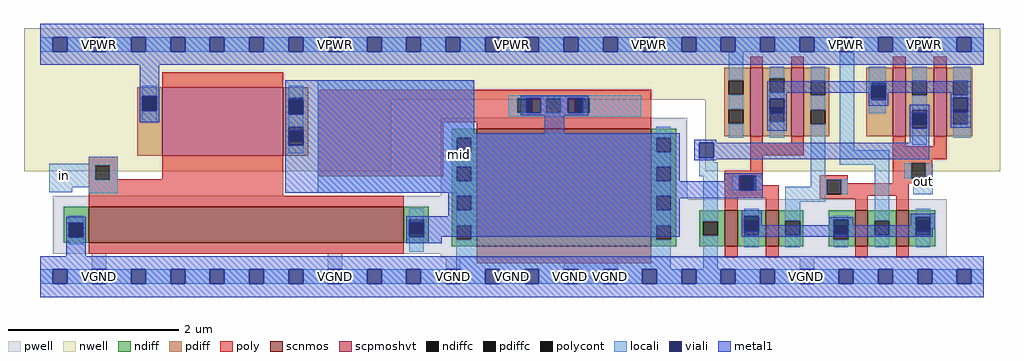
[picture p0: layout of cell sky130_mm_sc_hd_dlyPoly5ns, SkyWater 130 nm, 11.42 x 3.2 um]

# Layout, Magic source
magic
tech sky130A
magscale 1 2
<< nwell >>
rect -38 414 2246 582
rect -38 247 822 414
rect 1556 247 2246 414
<< pwell >>
rect 937 190 1514 372
rect 29 181 1514 190
rect 29 54 2121 181
rect 121 -17 155 54
rect 673 -17 707 54
rect 937 45 2121 54
rect 949 -17 983 45
rect 1225 -17 1351 45
rect 1777 -17 1811 45
<< scnmos >>
rect 113 80 851 164
rect 1021 71 1430 346
rect 1602 71 1632 155
rect 1698 71 1728 155
rect 1907 71 1937 155
rect 2003 71 2033 155
<< scpmoshvt >>
rect 285 283 569 443
rect 1661 329 1691 489
rect 1757 329 1787 489
rect 1995 329 2025 489
rect 2091 329 2121 489
<< ndiff >>
rect 963 325 1021 346
rect 963 291 975 325
rect 1009 291 1021 325
rect 963 257 1021 291
rect 963 223 975 257
rect 1009 223 1021 257
rect 963 189 1021 223
rect 55 126 113 164
rect 55 92 67 126
rect 101 92 113 126
rect 55 80 113 92
rect 851 135 909 164
rect 851 101 863 135
rect 897 101 909 135
rect 851 80 909 101
rect 963 155 975 189
rect 1009 155 1021 189
rect 963 121 1021 155
rect 963 87 975 121
rect 1009 87 1021 121
rect 963 71 1021 87
rect 1430 325 1488 346
rect 1430 291 1442 325
rect 1476 291 1488 325
rect 1430 257 1488 291
rect 1430 223 1442 257
rect 1476 223 1488 257
rect 1430 189 1488 223
rect 1430 155 1442 189
rect 1476 155 1488 189
rect 1430 121 1488 155
rect 1430 87 1442 121
rect 1476 87 1488 121
rect 1430 71 1488 87
rect 1542 130 1602 155
rect 1542 96 1552 130
rect 1586 96 1602 130
rect 1542 71 1602 96
rect 1632 131 1698 155
rect 1632 97 1648 131
rect 1682 97 1698 131
rect 1632 71 1698 97
rect 1728 131 1786 155
rect 1728 97 1744 131
rect 1778 97 1786 131
rect 1728 71 1786 97
rect 1845 121 1907 155
rect 1845 87 1857 121
rect 1891 87 1907 121
rect 1845 71 1907 87
rect 1937 131 2003 155
rect 1937 97 1953 131
rect 1987 97 2003 131
rect 1937 71 2003 97
rect 2033 131 2095 155
rect 2033 97 2049 131
rect 2083 97 2095 131
rect 2033 71 2095 97
<< pdiff >>
rect 1601 460 1661 489
rect 227 422 285 443
rect 227 388 239 422
rect 273 388 285 422
rect 227 283 285 388
rect 569 419 627 443
rect 569 385 581 419
rect 615 385 627 419
rect 569 351 627 385
rect 569 317 581 351
rect 615 317 627 351
rect 569 283 627 317
rect 1601 426 1611 460
rect 1645 426 1661 460
rect 1601 392 1661 426
rect 1601 358 1611 392
rect 1645 358 1661 392
rect 1601 329 1661 358
rect 1691 465 1757 489
rect 1691 431 1707 465
rect 1741 431 1757 465
rect 1691 397 1757 431
rect 1691 363 1707 397
rect 1741 363 1757 397
rect 1691 329 1757 363
rect 1787 459 1847 489
rect 1787 425 1803 459
rect 1837 425 1847 459
rect 1787 391 1847 425
rect 1787 357 1803 391
rect 1837 357 1847 391
rect 1787 329 1847 357
rect 1933 454 1995 489
rect 1933 420 1945 454
rect 1979 420 1995 454
rect 1933 329 1995 420
rect 2025 459 2091 489
rect 2025 425 2041 459
rect 2075 425 2091 459
rect 2025 391 2091 425
rect 2025 357 2041 391
rect 2075 357 2091 391
rect 2025 329 2091 357
rect 2121 459 2181 489
rect 2121 425 2137 459
rect 2171 425 2181 459
rect 2121 391 2181 425
rect 2121 357 2137 391
rect 2171 357 2181 391
rect 2121 329 2181 357
<< ndiffc >>
rect 975 291 1009 325
rect 975 223 1009 257
rect 67 92 101 126
rect 863 101 897 135
rect 975 155 1009 189
rect 975 87 1009 121
rect 1442 291 1476 325
rect 1442 223 1476 257
rect 1442 155 1476 189
rect 1442 87 1476 121
rect 1552 96 1586 130
rect 1648 97 1682 131
rect 1744 97 1778 131
rect 1857 87 1891 121
rect 1953 97 1987 131
rect 2049 97 2083 131
<< pdiffc >>
rect 239 388 273 422
rect 581 385 615 419
rect 581 317 615 351
rect 1611 426 1645 460
rect 1611 358 1645 392
rect 1707 431 1741 465
rect 1707 363 1741 397
rect 1803 425 1837 459
rect 1803 357 1837 391
rect 1945 420 1979 454
rect 2041 425 2075 459
rect 2041 357 2075 391
rect 2137 425 2171 459
rect 2137 357 2171 391
<< poly >>
rect 1661 489 1691 515
rect 1757 489 1787 515
rect 1995 489 2025 515
rect 2091 489 2121 515
rect 285 443 569 479
rect 650 428 1430 438
rect 649 418 1430 428
rect 649 384 1116 418
rect 1150 384 1184 418
rect 1218 384 1252 418
rect 1286 384 1430 418
rect 649 361 1430 384
rect 113 261 181 281
rect 113 227 129 261
rect 163 228 181 261
rect 285 228 569 283
rect 649 235 943 361
rect 1021 346 1430 361
rect 163 227 569 228
rect 113 190 569 227
rect 113 164 851 190
rect 113 54 851 80
rect 1661 314 1691 329
rect 1757 314 1787 329
rect 1661 284 1787 314
rect 1995 305 2025 329
rect 2091 305 2121 329
rect 1661 248 1691 284
rect 1602 236 1691 248
rect 1995 275 2121 305
rect 1995 265 2088 275
rect 1602 202 1641 236
rect 1675 214 1691 236
rect 1824 227 1890 238
rect 1675 202 1728 214
rect 1602 184 1728 202
rect 1602 155 1632 184
rect 1698 155 1728 184
rect 1824 193 1840 227
rect 1874 219 1890 227
rect 1995 231 2038 265
rect 2072 231 2088 265
rect 1995 219 2088 231
rect 1874 193 2033 219
rect 1824 189 2033 193
rect 1824 182 1937 189
rect 1907 155 1937 182
rect 2003 155 2033 189
rect 1021 32 1430 71
rect 1602 44 1632 71
rect 1698 44 1728 71
rect 1907 44 1937 71
rect 2003 44 2033 71
<< polycont >>
rect 1116 384 1150 418
rect 1184 384 1218 418
rect 1252 384 1286 418
rect 129 227 163 261
rect 1641 202 1675 236
rect 1840 193 1874 227
rect 2038 231 2072 265
<< locali >>
rect 0 527 29 561
rect 63 527 121 561
rect 155 527 213 561
rect 247 527 305 561
rect 339 527 397 561
rect 431 527 489 561
rect 523 527 581 561
rect 615 527 673 561
rect 707 527 765 561
rect 799 527 857 561
rect 891 527 949 561
rect 983 527 1041 561
rect 1075 527 1133 561
rect 1167 527 1225 561
rect 1259 527 1317 561
rect 1351 527 1409 561
rect 1443 527 1501 561
rect 1535 527 1593 561
rect 1627 527 1685 561
rect 1719 527 1777 561
rect 1811 527 1869 561
rect 1903 527 1961 561
rect 1995 527 2053 561
rect 2087 527 2145 561
rect 2179 527 2208 561
rect 1611 460 1645 527
rect 239 422 273 447
rect 238 388 239 400
rect 238 361 273 388
rect 581 419 615 447
rect 581 351 615 380
rect 581 289 615 308
rect 650 336 1016 460
rect 1095 418 1407 425
rect 1095 384 1116 418
rect 1171 384 1184 418
rect 1218 384 1235 418
rect 1286 384 1407 418
rect 1095 374 1407 384
rect 1611 392 1645 426
rect 1442 336 1476 351
rect 650 325 1476 336
rect 1611 325 1645 358
rect 1707 465 1741 491
rect 1707 416 1741 431
rect 1707 325 1741 363
rect 1803 459 1837 491
rect 1803 391 1837 425
rect 650 291 975 325
rect 1009 291 1442 325
rect 113 264 181 281
rect 21 261 181 264
rect 21 227 129 261
rect 163 227 181 261
rect 21 209 181 227
rect 21 198 75 209
rect 113 195 181 209
rect 650 257 1476 291
rect 650 223 975 257
rect 1009 223 1442 257
rect 1542 268 1576 279
rect 1542 235 1586 268
rect 650 196 1476 223
rect 973 189 1476 196
rect 67 126 101 143
rect 67 76 101 92
rect 863 135 897 160
rect 863 58 897 93
rect 973 155 975 189
rect 1009 155 1442 189
rect 973 121 1476 155
rect 973 87 975 121
rect 1009 87 1442 121
rect 973 17 1476 87
rect 1552 130 1586 235
rect 1620 202 1636 236
rect 1675 202 1691 236
rect 1803 228 1837 357
rect 1871 296 1905 527
rect 1939 454 1979 491
rect 1939 414 1945 454
rect 1939 383 1979 414
rect 2041 459 2075 491
rect 2041 391 2075 425
rect 2041 309 2075 348
rect 2137 459 2177 491
rect 2171 425 2177 459
rect 2137 419 2177 425
rect 2171 357 2177 419
rect 2137 325 2177 357
rect 1871 262 1987 296
rect 1803 227 1890 228
rect 1803 210 1840 227
rect 1744 193 1840 210
rect 1874 193 1890 227
rect 1744 176 1837 193
rect 1552 17 1586 96
rect 1648 141 1682 159
rect 1648 69 1682 97
rect 1744 131 1778 176
rect 1744 69 1778 97
rect 1857 133 1891 143
rect 1857 69 1891 87
rect 1953 131 1987 262
rect 2022 231 2038 265
rect 2072 231 2089 265
rect 2043 193 2089 231
rect 1953 69 1987 97
rect 2049 139 2083 159
rect 2049 69 2083 97
rect 0 -17 29 17
rect 63 -17 121 17
rect 155 -17 213 17
rect 247 -17 305 17
rect 339 -17 397 17
rect 431 -17 489 17
rect 523 -17 581 17
rect 615 -17 673 17
rect 707 -17 765 17
rect 799 -17 857 17
rect 891 -17 949 17
rect 983 -17 1041 17
rect 1075 -17 1133 17
rect 1167 -17 1225 17
rect 1259 -17 1317 17
rect 1351 -17 1409 17
rect 1443 -17 1501 17
rect 1535 -17 1593 17
rect 1627 -17 1685 17
rect 1719 -17 1777 17
rect 1811 -17 1869 17
rect 1903 -17 1961 17
rect 1995 -17 2053 17
rect 2087 -17 2145 17
rect 2179 -17 2208 17
<< viali >>
rect 29 527 63 561
rect 121 527 155 561
rect 213 527 247 561
rect 305 527 339 561
rect 397 527 431 561
rect 489 527 523 561
rect 581 527 615 561
rect 673 527 707 561
rect 765 527 799 561
rect 857 527 891 561
rect 949 527 983 561
rect 1041 527 1075 561
rect 1133 527 1167 561
rect 1225 527 1259 561
rect 1317 527 1351 561
rect 1409 527 1443 561
rect 1501 527 1535 561
rect 1593 527 1627 561
rect 1685 527 1719 561
rect 1777 527 1811 561
rect 1869 527 1903 561
rect 1961 527 1995 561
rect 2053 527 2087 561
rect 2145 527 2179 561
rect 239 388 273 422
rect 581 385 615 414
rect 581 380 615 385
rect 581 317 615 342
rect 581 308 615 317
rect 1137 384 1150 418
rect 1150 384 1171 418
rect 1235 384 1252 418
rect 1252 384 1269 418
rect 1707 397 1741 416
rect 1707 382 1741 397
rect 1542 279 1576 313
rect 67 92 101 126
rect 863 101 897 127
rect 863 93 897 101
rect 1636 202 1641 236
rect 1641 202 1670 236
rect 1945 420 1979 448
rect 1945 414 1979 420
rect 2041 357 2075 382
rect 2041 348 2075 357
rect 2137 391 2171 419
rect 2137 385 2171 391
rect 1648 131 1682 141
rect 1648 107 1682 131
rect 1857 121 1891 133
rect 1857 99 1891 121
rect 2049 131 2083 139
rect 2049 105 2083 131
rect 29 -17 63 17
rect 121 -17 155 17
rect 213 -17 247 17
rect 305 -17 339 17
rect 397 -17 431 17
rect 489 -17 523 17
rect 581 -17 615 17
rect 673 -17 707 17
rect 765 -17 799 17
rect 857 -17 891 17
rect 949 -17 983 17
rect 1041 -17 1075 17
rect 1133 -17 1167 17
rect 1225 -17 1259 17
rect 1317 -17 1351 17
rect 1409 -17 1443 17
rect 1501 -17 1535 17
rect 1593 -17 1627 17
rect 1685 -17 1719 17
rect 1777 -17 1811 17
rect 1869 -17 1903 17
rect 1961 -17 1995 17
rect 2053 -17 2087 17
rect 2145 -17 2179 17
<< metal1 >>
rect 0 561 2208 592
rect 0 527 29 561
rect 63 527 121 561
rect 155 527 213 561
rect 247 527 305 561
rect 339 527 397 561
rect 431 527 489 561
rect 523 527 581 561
rect 615 527 673 561
rect 707 527 765 561
rect 799 527 857 561
rect 891 527 949 561
rect 983 527 1041 561
rect 1075 527 1133 561
rect 1167 527 1225 561
rect 1259 527 1317 561
rect 1351 527 1409 561
rect 1443 527 1501 561
rect 1535 527 1593 561
rect 1627 527 1685 561
rect 1719 527 1777 561
rect 1811 527 1869 561
rect 1903 527 1961 561
rect 1995 527 2053 561
rect 2087 527 2145 561
rect 2179 527 2208 561
rect 0 496 2208 527
rect 233 422 279 496
rect 233 388 239 422
rect 273 388 279 422
rect 233 362 279 388
rect 573 414 1016 460
rect 1701 448 2177 458
rect 1701 430 1945 448
rect 573 380 581 414
rect 615 380 1016 414
rect 238 361 273 362
rect 573 342 1016 380
rect 1124 418 1282 424
rect 1124 384 1137 418
rect 1171 384 1235 418
rect 1269 384 1282 418
rect 1124 378 1282 384
rect 1701 416 1747 430
rect 1701 382 1707 416
rect 1741 382 1747 416
rect 1939 414 1945 430
rect 1979 430 2177 448
rect 1979 414 1985 430
rect 1939 400 1985 414
rect 2131 419 2177 430
rect 573 308 581 342
rect 615 336 1016 342
rect 1181 336 1226 378
rect 1701 342 1747 382
rect 2035 382 2081 402
rect 2035 348 2041 382
rect 2075 348 2081 382
rect 2131 385 2137 419
rect 2171 385 2177 419
rect 2131 349 2177 385
rect 615 308 1496 336
rect 573 223 1496 308
rect 1530 314 1582 320
rect 2035 314 2081 348
rect 1530 313 2081 314
rect 1530 279 1542 313
rect 1576 279 2081 313
rect 1530 275 2081 279
rect 1530 273 1582 275
rect 1601 236 1691 242
rect 1601 223 1636 236
rect 573 202 1636 223
rect 1670 202 1691 236
rect 573 196 1691 202
rect 955 184 1691 196
rect 955 142 1496 184
rect 61 126 107 140
rect 61 92 67 126
rect 101 92 107 126
rect 61 48 107 92
rect 856 127 1496 142
rect 856 93 863 127
rect 897 93 1496 127
rect 1642 141 1688 155
rect 1642 107 1648 141
rect 1682 121 1688 141
rect 2037 139 2095 147
rect 1845 133 1903 139
rect 1845 121 1857 133
rect 1682 107 1857 121
rect 1642 99 1857 107
rect 1891 121 1903 133
rect 2037 121 2049 139
rect 1891 105 2049 121
rect 2083 113 2095 139
rect 2083 105 2089 113
rect 1891 99 2089 105
rect 1642 93 2089 99
rect 856 78 940 93
rect 0 17 2208 48
rect 0 -17 29 17
rect 63 -17 121 17
rect 155 -17 213 17
rect 247 -17 305 17
rect 339 -17 397 17
rect 431 -17 489 17
rect 523 -17 581 17
rect 615 -17 673 17
rect 707 -17 765 17
rect 799 -17 857 17
rect 891 -17 949 17
rect 983 -17 1041 17
rect 1075 -17 1133 17
rect 1167 -17 1225 17
rect 1259 -17 1317 17
rect 1351 -17 1409 17
rect 1443 -17 1501 17
rect 1535 -17 1593 17
rect 1627 -17 1685 17
rect 1719 -17 1777 17
rect 1811 -17 1869 17
rect 1903 -17 1961 17
rect 1995 -17 2053 17
rect 2087 -17 2145 17
rect 2179 -17 2208 17
rect 0 -48 2208 -17
<< labels >>
flabel metal1 s 0 496 2208 592 0 FreeSans 200 0 0 0 VPWR
port 1 nsew
flabel metal1 s 673 527 707 561 0 FreeSans 200 0 0 0 VPWR
port 1 nsew
flabel metal1 s 121 527 155 561 0 FreeSans 200 0 0 0 VPWR
port 1 nsew
flabel metal1 s 1409 527 1443 561 0 FreeSans 200 0 0 0 VPWR
port 1 nsew
flabel metal1 s 1869 527 1903 561 0 FreeSans 200 0 0 0 VPWR
port 1 nsew
flabel metal1 s 2053 527 2087 561 0 FreeSans 200 0 0 0 VPWR
port 1 nsew
flabel metal1 s 0 -48 2208 48 0 FreeSans 200 0 0 0 VGND
port 2 nsew
flabel metal1 s 673 -17 707 17 0 FreeSans 200 0 0 0 VGND
port 2 nsew
flabel metal1 s 121 -17 155 17 0 FreeSans 200 0 0 0 VGND
port 2 nsew
flabel metal1 s 1225 -17 1259 17 0 FreeSans 200 0 0 0 VGND
port 2 nsew
flabel metal1 s 1777 -17 1811 17 0 FreeSans 200 0 0 0 VGND
port 2 nsew
flabel metal1 s 1317 -17 1351 17 0 FreeSans 200 0 0 0 VGND
port 2 nsew
flabel metal1 s 949 -17 983 17 0 FreeSans 200 0 0 0 VGND
port 2 nsew
flabel locali s 40 221 74 255 7 FreeSans 200 0 0 0 in
port 3 nsew
flabel locali s 2049 207 2083 241 0 FreeSans 200 0 0 0 out
port 4 nsew
rlabel metal1 s 982 285 982 285 4 mid
port 5 nsew
flabel nwell s 673 527 707 561 0 FreeSans 200 0 0 0 VPB
port 6 nsew
flabel nwell s 121 527 155 561 0 FreeSans 200 0 0 0 VPB
port 6 nsew
flabel nwell s 1409 527 1443 561 0 FreeSans 200 0 0 0 VPB
port 6 nsew
flabel nwell s 1869 527 1903 561 0 FreeSans 200 0 0 0 VPB
port 6 nsew
flabel nwell s 2053 527 2087 561 0 FreeSans 200 0 0 0 VPB
port 6 nsew
flabel pwell s 673 -17 707 17 0 FreeSans 200 0 0 0 VNB
port 7 nsew
flabel pwell s 121 -17 155 17 0 FreeSans 200 0 0 0 VNB
port 7 nsew
flabel pwell s 1225 -17 1259 17 0 FreeSans 200 0 0 0 VNB
port 7 nsew
flabel pwell s 1777 -17 1811 17 0 FreeSans 200 0 0 0 VNB
port 7 nsew
flabel pwell s 1317 -17 1351 17 0 FreeSans 200 0 0 0 VNB
port 7 nsew
flabel pwell s 949 -17 983 17 0 FreeSans 200 0 0 0 VNB
port 7 nsew
<< properties >>
string FIXED_BBOX 0 0 2208 544
string GDS_END 179266
string GDS_FILE adc_top.gds.gz
string GDS_START 161944
<< end >>
